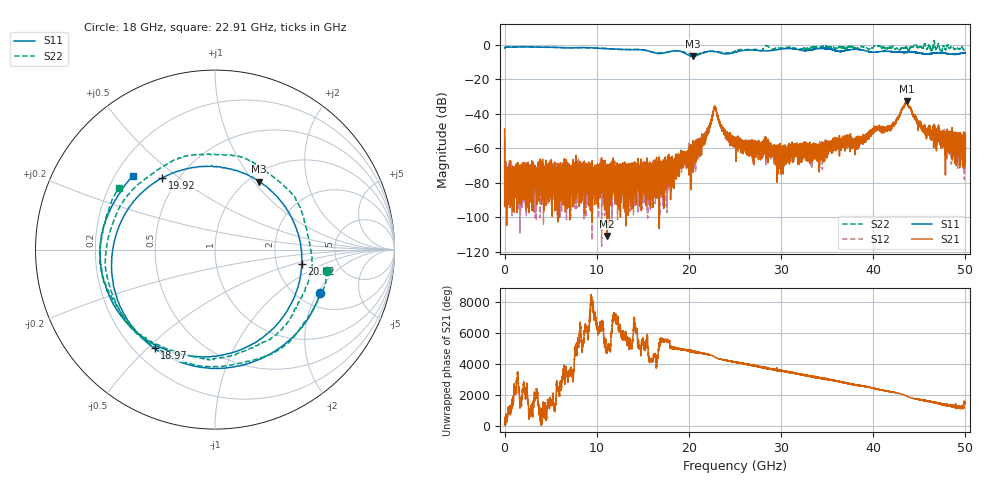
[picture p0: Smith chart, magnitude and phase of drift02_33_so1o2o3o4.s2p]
!Created with skrf (http://scikit-rf.org).
# Hz S RI R 50.0
!freq ReS11 ImS11 ReS21 ImS21 ReS12 ImS12 ReS22 ImS22
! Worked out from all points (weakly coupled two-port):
!   10001 points, 300 kHz to 50 GHz, reference 50 ohm
!   highest |S21| = -32.90 dB at 43.64 GHz (marker M1); lowest = -110.8 dB at 11.14 GHz (marker M2)
!   lowest |S11| = -6.9 dB at 20.41 GHz (marker M3), VSWR 2.64, Z = 55.7 + j53 ohm
!   |S11| at or under -10 dB: nowhere
!   |S22| runs from -5.7 to 2.4 dB; largest |S21 - S12| = 0.0048
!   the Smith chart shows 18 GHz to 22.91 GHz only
!   S11 on the Smith chart (normalised r, x): 18 GHz: 2.61, -2.10; 18.97 GHz: 0.28, -0.53; 19.92 GHz: 0.41, +0.43; 20.92 GHz: 2.78, -0.58; 22.91 GHz: 0.27, +0.36
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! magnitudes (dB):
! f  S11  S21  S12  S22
! 300 kHz  -2.1  -49.0  -56.3  -2.1
! 280.3 MHz  -1.4  -72.0  -71.2  -1.4
! 8.335 GHz  -1.7  -91.7  -77.2  -1.9
! 11.14 GHz  -2.5  -110.8  -78.4  -2.2
! 16.67 GHz  -5.2  -75.3  -71.0  -4.7
! 18 GHz  -4.0  -72.4  -77.6  -4.0
! 18.97 GHz  -3.8  -71.0  -68.3  -3.9
! 19.92 GHz  -6.1  -65.5  -64.2  -5.2
! 20.41 GHz  -6.9  -59.5  -61.1  -5.4
! 20.92 GHz  -6.2  -60.6  -57.7  -5.6
! 21.81 GHz  -4.2  -53.0  -55.6  -4.4
! 22.91 GHz  -4.2  -37.0  -36.8  -3.9
! 23.73 GHz  -5.3  -49.8  -50.0  -4.6
! 25 GHz  -4.5  -57.9  -58.0  -3.9
! 29.94 GHz  -2.7  -64.1  -62.7  -2.1
! 33.34 GHz  -3.0  -60.6  -62.1  -1.6
! 38.17 GHz  -2.8  -58.2  -57.1  -2.3
! 40.39 GHz  -4.3  -48.9  -48.8  -0.9
! 41.67 GHz  -4.0  -48.7  -48.2  -1.8
! 43.64 GHz  -4.2  -32.9  -33.3  -1.7
! 45.62 GHz  -5.4  -49.3  -48.9  0.3
! 50 GHz  -4.8  -60.8  -59.1  -2.6
